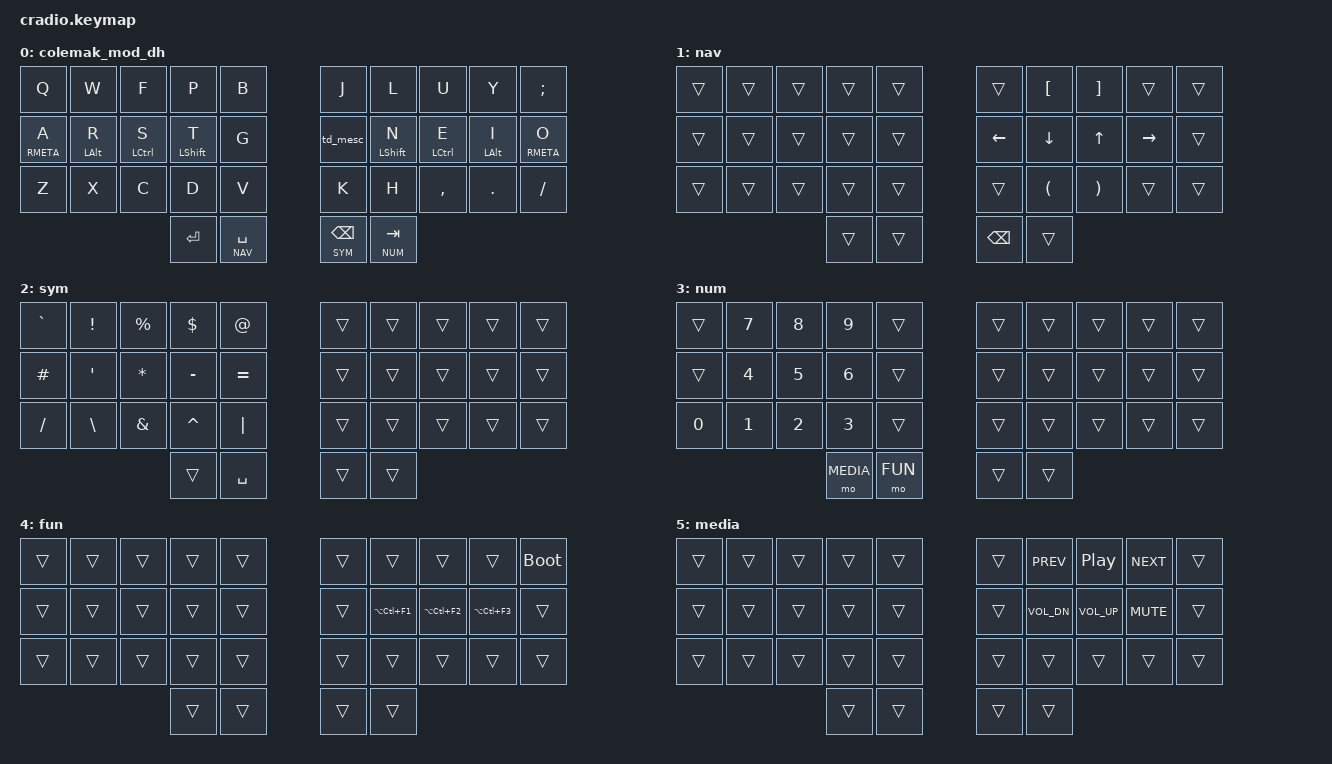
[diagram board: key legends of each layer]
/*
 * Copyright (c) 2020 The ZMK Contributors
 *
 * SPDX-License-Identifier: MIT
 */

#include <behaviors.dtsi>
#include <dt-bindings/zmk/keys.h>
#include <dt-bindings/zmk/bt.h>

#define DEFAULT 0
#define NAV 1
#define SYM 2
#define NUM 3
#define FUN 4
#define MEDIA 5

&mt {
   //  flavor = "tap-preferred";
   tapping_term_ms = <200>;
};

/ {

  behaviors {
      td_mesc: tap_dance_mesc {
            compatible = "zmk,behavior-tap-dance";
            label = "TAP_DANCE_MESC";
            #binding-cells = <0>;
            tapping-term-ms = <175>;
            bindings = <&kp M>, <&kp ESC>;};
    };

  keymap {
    compatible = "zmk,keymap";

    colemak_mod_dh {
      bindings = <
        &kp Q       &kp W      &kp F       &kp P       &kp B            &kp J          &kp L       &kp U       &kp Y      &kp SCLN
        &mt RMETA A &mt LALT R &mt LCTRL S &mt LSHFT T &kp G            &td_mesc       &mt LSHFT N &mt LCTRL E &mt LALT I &mt RMETA O
        &kp Z       &kp X      &kp C       &kp D       &kp V            &kp K          &kp H       &kp CMMA    &kp DOT    &kp SLASH
                                           &kp RET     &lt NAV SPACE    &lt SYM BSPC &lt NUM TAB
      >;
    };

    nav {
      bindings = <
        &trans &trans &trans &trans &trans    &trans &kp LBKT &kp RBKT &trans &trans
        &trans &trans &trans &trans &trans    &kp LEFT &kp DOWN &kp UP &kp RIGHT &trans
        &trans &trans &trans &trans &trans    &trans &kp LPAR &kp RPAR &trans &trans
                             &trans &trans    &kp BSPC &trans
      >;
    };

    sym {
      bindings = <
        &kp GRAVE &kp EXCL &kp PRCNT &kp DLLR  &kp AT       &trans &trans &trans &trans &trans
        &kp HASH  &kp APOS &kp ASTRK &kp MINUS &kp EQL      &trans &trans &trans &trans &trans
        &kp SLASH &kp BSLH &kp AMPS  &kp CARET &kp PIPE     &trans &trans &trans &trans &trans
                                     &trans    &kp SPACE    &trans &trans
      >;
    };

    num {
      bindings = <
        &trans &kp N7 &kp N8 &kp N9    &trans     &trans &trans &trans &trans &trans
        &trans &kp N4 &kp N5 &kp N6    &trans     &trans &trans &trans &trans &trans
        &kp N0 &kp N1 &kp N2 &kp N3    &trans     &trans &trans &trans &trans &trans
                             &mo MEDIA &mo FUN   &trans  &trans
      >;
    };

    fun {
      bindings = <
      &trans &trans &trans &trans &trans     &trans &trans &trans &trans &bootloader
      &trans &trans &trans &trans &trans    &trans &kp LA(LC(F1)) &kp LA(LC(F2)) &kp LA(LC(F3)) &trans
      &trans &trans &trans &trans &trans     &trans &trans &trans &trans &trans
                           &trans &trans     &trans &trans
      >;
    };

    media {
      bindings = <
      &trans &trans &trans &trans &trans    &trans &kp C_PREV &kp C_PP &kp C_NEXT &trans
      &trans &trans &trans &trans &trans    &trans &kp C_VOL_DN &kp C_VOL_UP  &kp K_MUTE &trans
      &trans &trans &trans &trans &trans    &trans &trans &trans &trans &trans
                           &trans &trans    &trans &trans
      >;
    };
  };
};
